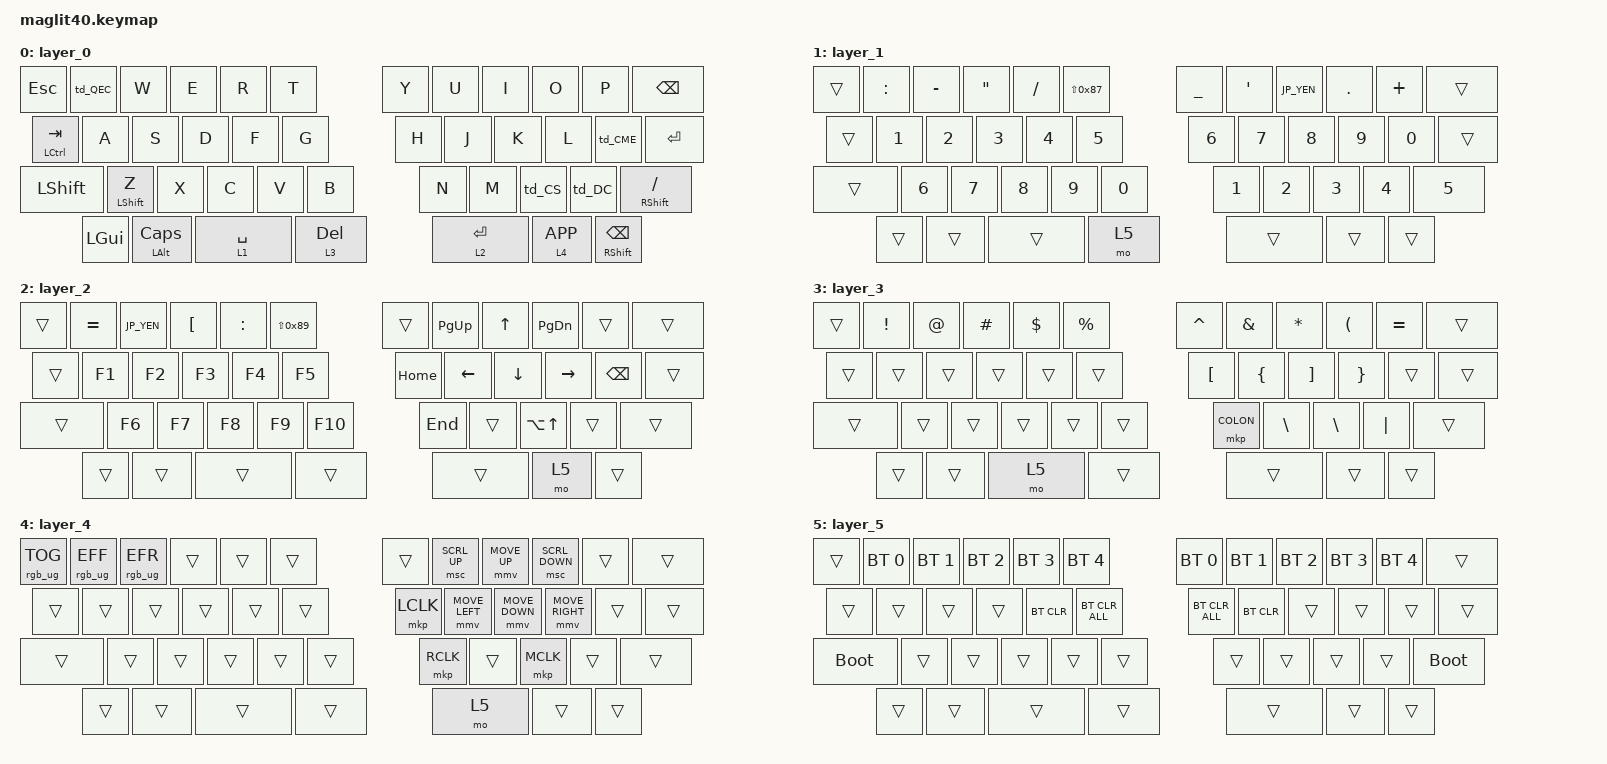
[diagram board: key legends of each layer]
#include <behaviors.dtsi>
#include <dt-bindings/zmk/keys.h>
#include <dt-bindings/zmk/bt.h>
#include <dt-bindings/zmk/outputs.h>
#include <dt-bindings/zmk/pointing.h>
#include <dt-bindings/zmk/rgb.h>

// OS設定を日本語キーボードのまま使用するための変換定義
#define JP_DQUOTE       AT                // "
#define JP_AMPERSAND    CARET             // &
#define JP_QUOTE        AMPERSAND         // '
#define JP_EQUAL        UNDER             // =
#define JP_CARET        EQUAL             // ^
#define JP_YEN          0x89              // ¥
#define JP_PLUS         COLON             // +
#define JP_TILDE        PLUS              // ~
#define JP_PIPE         LS(0x89)          // |
#define JP_AT           LEFT_BRACKET      // @
#define JP_COLON        SINGLE_QUOTE      // :
#define JP_ASTERISK     DOUBLE_QUOTES     // *
#define JP_BACKQUOTE    LEFT_BRACE        // `
#define JP_UNDERSCORE   LS(0x87)          // _
#define JP_LBRACKET     RIGHT_BRACKET     // [
#define JP_RBRACKET     BACKSLASH         // ]
#define JP_LPAREN       ASTERISK          // (
#define JP_RPAREN       LEFT_PARENTHESIS  // )
#define JP_LBRACE       RIGHT_BRACE       // {
#define JP_RBRACE       PIPE              // }
#define JP_KANA         LANGUAGE_1        // かな
#define JP_EISU         LANGUAGE_2        // 英数
#define JP_HANZEN       GRAVE             // 半角/全角

&led_strip {
    chain-length = <2>;
};

&lt {
  quick-tap-ms = <180>;
  flavor = "tap-preferred";
};

&mt {
  quick-tap-ms = <180>;
  flavor = "tap-preferred";
};

/ {
    behaviors {
        ht: my_hold_tap {
            compatible = "zmk,behavior-hold-tap";
            #binding-cells = <2>;
            flavor = "tap-preferred";
            tapping-term-ms = <180>;
            quick-tap-ms = <180>;
            require-prior-idle-ms = <125>;
            bindings = <&kp>, <&kp>;
        };
        td_QEC: tap_dance_0 {
            compatible = "zmk,behavior-tap-dance";
            #binding-cells = <0>;
            tapping-term-ms = <180>;
            bindings = <&mt LCTRL Q>, <&kp ESC>;
        };
        td_CS: tap_dance_1 {
            compatible = "zmk,behavior-tap-dance";
            #binding-cells = <0>;
            tapping-term-ms = <180>;
            bindings = <&kp COMMA>, <&kp SEMI>;
        };
        td_DC: tap_dance_2 {
            compatible = "zmk,behavior-tap-dance";
            #binding-cells = <0>;
            tapping-term-ms = <180>;
            bindings = <&kp DOT>, <&kp JP_COLON>;
        };
        td_CME: tap_dance_3 {
            compatible = "zmk,behavior-tap-dance";
            #binding-cells = <0>;
            tapping-term-ms = <150>;
            bindings = <&mt RCTRL MINUS>, <&kp JP_UNDERSCORE>;
        };
    };
    
  keymap {
    compatible = "zmk,keymap";

    layer_0 {
      bindings = <
        &kp ESC        &td_QEC        &kp W         &kp E         &kp R         &kp T               &kp Y         &kp U         &kp I         &kp O         &kp P        &kp BSPC
        &mt LCTRL TAB  &kp A          &kp S         &kp D         &kp F         &kp G               &kp H         &kp J         &kp K         &kp L         &td_CME      &kp RET
        &kp LSHFT      &ht LSHFT Z    &kp X         &kp C         &kp V         &kp B               &kp N         &kp M         &td_CS        &td_DC        &ht RSHFT SLASH
                                 &kp LGUI    &mt LALT CAPS    &lt 1 SPACE   &lt 3 DEL               &lt 2 RET     &lt 4 K_APP   &mt RSHFT BSPC    
      >;
		};

    layer_1 {
      bindings = <
        &trans       &kp JP_PLUS      &kp MINUS     &kp JP_ASTERISK &kp SLASH   &kp JP_UNDERSCORE    &kp JP_EQUAL  &kp JP_COLON  &kp JP_YEN    &kp DOT       &kp JP_TILDE &trans
        &trans       &kp N1           &kp N2        &kp N3        &kp N4        &kp N5               &kp N6        &kp N7        &kp N8        &kp N9        &kp N0      &trans   
        &trans       &kp N6           &kp N7        &kp N8        &kp N9        &kp N0               &kp N1        &kp N2        &kp N3        &kp N4        &kp N5
                                      &trans        &trans        &trans        &mo 5                &trans        &trans        &trans
      >;
    };

    layer_2 {
      bindings = <
        &trans       &kp JP_CARET     &kp JP_YEN    &kp JP_AT     &kp JP_PLUS   &kp JP_PIPE          &trans        &kp PG_UP     &kp UP        &kp PG_DN     &trans     &trans
        &trans       &kp F1           &kp F2        &kp F3        &kp F4        &kp F5               &kp HOME      &kp LEFT      &kp DOWN      &kp RIGHT     &kp BSPC   &trans
        &trans       &kp F6           &kp F7        &kp F8        &kp F9        &kp F10              &kp END       &trans        &kp LA(UP)    &trans        &trans
                                      &trans        &trans        &trans        &trans               &trans        &mo 5         &trans
      >;
    };

    layer_3 {
      bindings = <
        &trans        &kp EXCL        &kp JP_DQUOTE &kp HASH      &kp DLLR      &kp PRCNT           &kp JP_AMPERSAND  &kp JP_QUOTE  &kp JP_LPAREN  &kp JP_RPAREN   &kp JP_CARET  &trans
        &trans        &trans          &trans        &trans        &trans        &trans              &kp JP_AT     &kp JP_BACKQUOTE  &kp JP_LBRACKET  &kp JP_LBRACE  &trans      &trans   
        &trans        &trans          &trans        &trans        &trans        &trans              &mkp JP_PLUS  &kp JP_RBRACKET   &kp JP_RBRACKET  &kp JP_RBRACE  &trans
                                      &trans        &trans        &mo 5         &trans              &trans        &trans          &trans
      >;
    };

    layer_4 {
      bindings = <
        &rgb_ug RGB_TOG &rgb_ug RGB_EFF &rgb_ug RGB_EFR &trans    &trans        &trans              &trans        &msc SCRL_UP    &mmv MOVE_UP   &msc SCRL_DOWN   &trans        &trans
        &trans      &trans            &trans        &trans        &trans        &trans              &mkp LCLK     &mmv MOVE_LEFT  &mmv MOVE_DOWN &mmv MOVE_RIGHT  &trans        &trans   
        &trans      &trans            &trans        &trans        &trans        &trans              &mkp RCLK     &trans          &mkp MCLK      &trans           &trans
                                      &trans        &trans        &trans        &trans              &mo 5         &trans          &trans
      >;
    };

    layer_5 {
      bindings = <
        &trans      &bt BT_SEL 0      &bt BT_SEL 1  &bt BT_SEL 2  &bt BT_SEL 3  &bt BT_SEL 4        &bt BT_SEL 0  &bt BT_SEL 1  &bt BT_SEL 2  &bt BT_SEL 3  &bt BT_SEL 4  &trans
        &trans      &trans            &trans        &trans        &bt BT_CLR    &bt BT_CLR_ALL      &bt BT_CLR_ALL &bt BT_CLR   &trans        &trans        &trans        &trans
        &bootloader &trans            &trans        &trans        &trans        &trans              &trans        &trans        &trans        &trans        &bootloader
                                      &trans        &trans        &trans        &trans              &trans        &trans        &trans
      >;
    };
  };
};

/ {
    layer_listeners {
        compatible = "zmk,layer-listeners";

        layer1_color {
            layers = <1>;    // 対象のレイヤー番号
            // レイヤーに入る時に &underglow_color_blue を呼び、抜ける時に &underglow_color_white を呼す
            bindings = <&underglow_color_blue &underglow_color_white>;
        };
        
        // 他のレイヤーにも同様に追加できます
    };
    
    // もし色変更のための behavior がまだないなら
    behaviors {
        underglow_color_blue: behavior_underglow_blue {
            compatible = "zmk,behavior-underglow";
            #binding-cells = <0>;

            value = <0 0 255>;  // 青 (例)
        };

        underglow_color_white: behavior_underglow_white {
            compatible = "zmk,behavior-underglow";
            #binding-cells = <0>;

            value = <255 255 255>;  // 白
        };
    };
};
